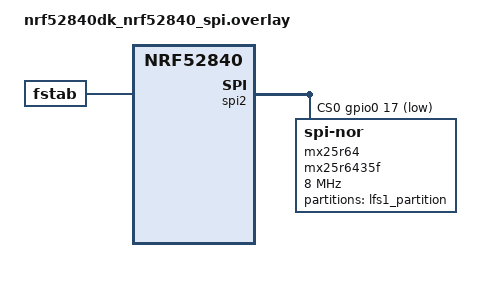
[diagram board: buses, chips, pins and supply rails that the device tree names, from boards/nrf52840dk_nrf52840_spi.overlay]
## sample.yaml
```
sample:
  name: littlefs filesystem sample
common:
  tags:
    - filesystem
    - littefs
tests:
  sample.filesystem.littlefs:
    build_only: true
    platform_allow:
      - nrf52840dk/nrf52840
      - particle_xenon
      - disco_l475_iot1
      - mimxrt685_evk/mimxrt685s/cm33
      - mimxrt1060_evk
      - mimxrt1064_evk
      - qemu_x86
      - native_posix
      - native_sim
      - mimxrt1160_evk/mimxrt1166/cm7
      - lpcxpresso55s69/lpc55s69/cpu0
      - mr_canhubk3
      - stm32f429i_disc1
      - stm32f746g_disco
      - stm32h747i_disco/stm32h747xx/m7
      - stm32h750b_dk
      - nrf54l15pdk/nrf54l15/cpuapp
    integration_platforms:
      - nrf52840dk/nrf52840
  sample.filesystem.littlefs.blk:
    build_only: true
    extra_args:
      - CONF_FILE=prj_blk.conf
    platform_allow:
      - rcar_h3ulcb/r8a77951/a57
      - rcar_salvator_xs
  sample.filesystem.littlefs.nrf52840dk_spi:
    build_only: true
    platform_allow: nrf52840dk/nrf52840
    extra_args:
      - OVERLAY_CONFIG=boards/nrf52840dk_nrf52840_spi.conf
      - DTC_OVERLAY_FILE=boards/nrf52840dk_nrf52840_spi.overlay
  sample.filesystem.littlefs.nrf52840dk_qspi:
    build_only: true
    platform_allow: nrf52840dk/nrf52840
    extra_args:
      - OVERLAY_CONFIG=boards/nrf52840dk_nrf52840_qspi.conf
      - DTC_OVERLAY_FILE=boards/nrf52840dk_nrf52840_qspi.overlay
  sample.filesystem.littlefs.stm32h747i_disco_m7_blk:
    build_only: true
    platform_allow: stm32h747i_disco/stm32h747xx/m7
    extra_args:
      - OVERLAY_CONFIG=boards/stm32_blk.conf
      - CONF_FILE=prj_blk.conf
    extra_configs:
      - CONFIG_SDMMC_STM32_HWFC=y
  sample.filesystem.littlefs.nucleo_h743zi_qspi:
    build_only: true
    platform_allow: nucleo_h743zi
    extra_args:
      - OVERLAY_CONFIG=boards/nucleo_h743zi_qspi.conf
  sample.filesystem.littlefs.nucleo_h743zi_blk:
    build_only: true
    platform_allow: nucleo_h743zi
    extra_args:
      - OVERLAY_CONFIG=boards/nucleo_h743zi_blk.conf
      - CONF_FILE=prj_blk.conf
  sample.filesystem.littlefs.stm32l562e_dk_ospi:
    build_only: true
    platform_allow: stm32l562e_dk
    extra_args:
      - OVERLAY_CONFIG=boards/stm32l562e_dk_ospi.conf
  sample.filesystem.littlefs.stm32f746g_disco_blk:
    build_only: true
    platform_allow: stm32f746g_disco
    extra_args:
      - OVERLAY_CONFIG=boards/stm32_blk.conf
      - CONF_FILE=prj_blk.conf
    extra_configs:
      - CONFIG_SDMMC_STM32_HWFC=y
```

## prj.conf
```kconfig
#
# Copyright (c) 2019 Peter Bigot Consulting, LLC
#
# SPDX-License-Identifier: Apache-2.0
#

# Optionally force the file system to be recreated
#CONFIG_APP_WIPE_STORAGE=y

# fs_dirent structures are big.
CONFIG_MAIN_STACK_SIZE=4096

# Let __ASSERT do its job
CONFIG_DEBUG=y

CONFIG_LOG=y
CONFIG_LOG_MODE_MINIMAL=y

CONFIG_FLASH=y
CONFIG_FLASH_MAP=y

CONFIG_FILE_SYSTEM=y
CONFIG_FILE_SYSTEM_LITTLEFS=y
```

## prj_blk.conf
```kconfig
#
# Copyright (c) 2022 Lukasz Majewski, DENX Software Engineering GmbH
#
# SPDX-License-Identifier: Apache-2.0
#

CONFIG_DISK_ACCESS=y
CONFIG_DISK_DRIVERS=y
CONFIG_DISK_DRIVER_SDMMC=y

CONFIG_DEBUG=y
CONFIG_LOG=y
CONFIG_LOG_MODE_MINIMAL=y

CONFIG_FILE_SYSTEM=y
CONFIG_FILE_SYSTEM_LITTLEFS=y

CONFIG_FS_LITTLEFS_BLK_DEV=y
CONFIG_FS_LITTLEFS_FMP_DEV=n
CONFIG_APP_LITTLEFS_STORAGE_BLK_SDMMC=y

CONFIG_NOCACHE_MEMORY=y
```

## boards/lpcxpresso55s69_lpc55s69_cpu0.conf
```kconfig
# Copyright 2023 NXP
# SPDX-License-Identifier: Apache-2.0

CONFIG_FS_LITTLEFS_PROG_SIZE=512
CONFIG_FS_LITTLEFS_CACHE_SIZE=512
```

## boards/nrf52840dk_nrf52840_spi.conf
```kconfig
#
# Copyright (c) 2023 Nordic Semiconductor ASA
#
# SPDX-License-Identifier: Apache-2.0
#
CONFIG_SPI=y
CONFIG_SPI_NOR=y
CONFIG_SPI_NOR_FLASH_LAYOUT_PAGE_SIZE=4096
```

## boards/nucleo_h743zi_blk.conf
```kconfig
#
# Copyright (c) 2022 Lukasz Majewski, DENX Software Engineering GmbH
#
# SPDX-License-Identifier: Apache-2.0
#
CONFIG_MAIN_STACK_SIZE=2048
CONFIG_COMMON_LIBC_MALLOC_ARENA_SIZE=8192

CONFIG_FS_LITTLEFS_FC_HEAP_SIZE=8192
CONFIG_SDMMC_STM32_HWFC=y
```

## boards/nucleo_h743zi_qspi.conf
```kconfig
#
# Copyright (c) 2021 Lukasz Majewski, DENX Software Engineering GmbH
#
# SPDX-License-Identifier: Apache-2.0
#

CONFIG_COMMON_LIBC_MALLOC_ARENA_SIZE=8192

# Littlefs configuration to utilize QSPI operation
CONFIG_FS_LITTLEFS_FC_HEAP_SIZE=8192

CONFIG_NOCACHE_MEMORY=y
```

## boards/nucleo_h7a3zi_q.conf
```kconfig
#
# Copyright (c) 2022 Christoph Heller
#
# SPDX-License-Identifier: Apache-2.0
#

# Set MPU to allow write accesses to flash memory.
# This is required by the flash driver to be able
# to write to the internal flash.
CONFIG_MPU_ALLOW_FLASH_WRITE=y
```

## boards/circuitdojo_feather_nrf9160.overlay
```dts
/*
 * Copyright (c) 2020 Circuit Dojo LLC
 *
 * SPDX-License-Identifier: Apache-2.0
 */

/delete-node/ &storage_partition;

&w25q16jv {
	partitions {
		compatible = "fixed-partitions";
		#address-cells = <1>;
		#size-cells = <1>;

		littlefs_dev: partition@0 {
			label = "storage";
			reg = <0x00000000 0x00010000>;
		};
	};
};
```

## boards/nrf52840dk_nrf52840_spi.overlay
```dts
/*
 * Copyright (c) 2023 Nordic Semiconductor ASA
 *
 * SPDX-License-Identifier: Apache-2.0
 */

/delete-node/ &mx25r64;

&qspi {
	status = "disabled";
};

/* The mx25, on nrf52840dk/nrf52840, uses pins for spi0, spi1, spi2 and spi3
 * to provide quad-spi feature. In individual specifications each of the spi
 * notes define own clock source (SCK), but spi2 shares the same clock source
 * as qspi configuration, which is pin (0,19). That is why spi2 is used here
 * to communicate with mx25, when qspi is not used, to avoid rerouting clock
 * pin.
 */
&spi2 {
	compatible = "nordic,nrf-spi";
	status = "okay";
	cs-gpios = <&gpio0 17 GPIO_ACTIVE_LOW>;
	pinctrl-0 = <&spi2_default>;
	pinctrl-1 = <&spi2_sleep>;
	pinctrl-names = "default", "sleep";
	mx25r64: mx25r6435f@0 {
		compatible = "jedec,spi-nor";
		reg = <0>;
		spi-max-frequency = <8000000>;
		jedec-id = [c2 28 17];
		sfdp-bfp = [
			e5 20 f1 ff  ff ff ff 03  44 eb 08 6b  08 3b 04 bb
			ee ff ff ff  ff ff 00 ff  ff ff 00 ff  0c 20 0f 52
			10 d8 00 ff  23 72 f5 00  82 ed 04 cc  44 83 68 44
			30 b0 30 b0  f7 c4 d5 5c  00 be 29 ff  f0 d0 ff ff
		];
		size = <67108864>;
		has-dpd;
		t-enter-dpd = <10000>;
		t-exit-dpd = <35000>;
	};
};

&mx25r64 {
	partitions {
		compatible = "fixed-partitions";
		#address-cells = <1>;
		#size-cells = <1>;

		lfs1_partition: partition@0 {
			label = "lfs1_partition";
			reg = <0x00000000 0x00010000>;
		};
	};
};

/ {
	fstab {
		compatible = "zephyr,fstab";
		lfs1: lfs1 {
			compatible = "zephyr,fstab,littlefs";
			mount-point = "/lfs1";
			partition = <&lfs1_partition>;
			automount;
			read-size = <16>;
			prog-size = <16>;
			cache-size = <64>;
			lookahead-size = <32>;
			block-cycles = <512>;
		};
	};
};
```

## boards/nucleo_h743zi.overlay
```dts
/*
 * Copyright (c) 2022 Lukasz Majewski, DENX Software Engineering GmbH
 * Copyright (c) 2024 STMicroelectronics
 *
 * SPDX-License-Identifier: Apache-2.0
 */
/delete-node/ &storage_partition;

&sdmmc1 {
	status = "okay";
	pinctrl-0 = <&sdmmc1_d0_pc8
		     &sdmmc1_ck_pc12
		     &sdmmc1_cmd_pd2>;

	pinctrl-names = "default";
};

/ {
	fstab {
		compatible = "zephyr,fstab";
		lfs1: lfs1 {
			compatible = "zephyr,fstab,littlefs";
			read-size = <32>;
			prog-size = <32>;
			cache-size = <256>;
			lookahead-size = <64>;
			block-cycles = <512>;
			partition = <&storage_partition>;
			mount-point = "/lfs1";
		};
	};
};

&quadspi {
	pinctrl-0 = <&quadspi_clk_pf10 &quadspi_bk2_ncs_pc11
		     &quadspi_bk2_io0_pe7 &quadspi_bk2_io1_pe8
		     &quadspi_bk2_io2_pe9 &quadspi_bk2_io3_pe10>;
	pinctrl-names = "default";

	flash-id = <2>;
	status = "okay";

	mx25l25645g: qspi-nor-flash@90000000 {
		compatible = "st,stm32-qspi-nor";
		reg = <0x90000000 DT_SIZE_M(32)>; /* 256 Mbits */
		qspi-max-frequency = <50000000>;
		reset-gpios = <&gpiod 3 GPIO_ACTIVE_LOW>;
		reset-gpios-duration = <1>;
		spi-bus-width = <4>;
		status = "okay";

		partitions {
			   compatible = "fixed-partitions";
			   #address-cells = <1>;
			   #size-cells = <1>;

			   storage_partition: partition@0 {
			       label = "storage";
			       reg = <0 DT_SIZE_M(8)>;
			   };
		};
	};
};
```

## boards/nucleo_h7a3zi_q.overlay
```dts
/*
 * Copyright (c) 2022 Christoph Heller
 *
 * SPDX-License-Identifier: Apache-2.0
 */

/ {
	fstab {
		compatible = "zephyr,fstab";
		lfs1: lfs1 {
			compatible = "zephyr,fstab,littlefs";
			read-size = <1>;
			prog-size = <16>;
			cache-size = <256>;
			lookahead-size = <32>;
			block-cycles = <512>;
			partition = <&lfs1_partition>;
			mount-point = "/lfs1";
		};
	};
};

&flash0 {
	partitions {
		compatible = "fixed-partitions";
		#address-cells = <1>;
		#size-cells = <1>;

		/* Use second half of flash for the filesystem. */
		lfs1_partition: partition@100000 {
			label = "storage";
			reg = <0x100000 DT_SIZE_K(1024)>;
		};
	};
};
```

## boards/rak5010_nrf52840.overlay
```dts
/*
 * Copyright (c) 2024 Linumiz
 *
 * SPDX-License-Identifier: Apache-2.0
 */

/delete-node/ &storage_partition;

/ {
	fstab {
		compatible = "zephyr,fstab";
		lfs1: lfs1 {
			compatible = "zephyr,fstab,littlefs";
			mount-point = "/lfs1";
			partition = <&lfs1_part>;
			automount;
			read-size = <16>;
			prog-size = <16>;
			cache-size = <64>;
			lookahead-size = <32>;
			block-cycles = <512>;
		};
	};
};

&is25wp064a {
	partitions {
		compatible = "fixed-partitions";
		#address-cells = <1>;
		#size-cells = <1>;

		lfs1_part: partition@0 {
			label = "storage";
			reg = <0x00000000 DT_SIZE_M(8)>;
		};
	};
};
```

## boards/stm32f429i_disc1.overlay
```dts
/*
 * Copyright (c) 2024 STMicroelectronics
 *
 * SPDX-License-Identifier: Apache-2.0
 */

/ {
	fstab {
		compatible = "zephyr,fstab";
		lfs1: lfs1 {
			compatible = "zephyr,fstab,littlefs";
			read-size = <1>;
			prog-size = <16>;
			cache-size = <256>;
			lookahead-size = <32>;
			block-cycles = <512>;
			partition = <&lfs1_partition>;
			mount-point = "/lfs1";
		};
	};
};

&flash0 {
	partitions {
		compatible = "fixed-partitions";
		#address-cells = <1>;
		#size-cells = <1>;

		/* Use second half of flash for the filesystem. */
		lfs1_partition: partition@100000 {
			label = "storage";
			reg = <0x100000 DT_SIZE_K(1024)>;
		};
	};
};
```

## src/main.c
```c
/*
 * Copyright (c) 2022 Lukasz Majewski, DENX Software Engineering GmbH
 * Copyright (c) 2019 Peter Bigot Consulting, LLC
 *
 * SPDX-License-Identifier: Apache-2.0
 */

/* Sample which uses the filesystem API with littlefs */

#include <stdio.h>

#include <zephyr/kernel.h>
#include <zephyr/device.h>
#include <zephyr/fs/fs.h>
#include <zephyr/fs/littlefs.h>
#include <zephyr/logging/log.h>
#include <zephyr/storage/flash_map.h>

LOG_MODULE_REGISTER(main);

/* Matches LFS_NAME_MAX */
#define MAX_PATH_LEN 255
#define TEST_FILE_SIZE 547

static uint8_t file_test_pattern[TEST_FILE_SIZE];
static int lsdir(const char *path)
{
	int res;
	struct fs_dir_t dirp;
	static struct fs_dirent entry;

	fs_dir_t_init(&dirp);

	/* Verify fs_opendir() */
	res = fs_opendir(&dirp, path);
	if (res) {
		LOG_ERR("Error opening dir %s [%d]\n", path, res);
		return res;
	}

	LOG_PRINTK("\nListing dir %s ...\n", path);
	for (;;) {
		/* Verify fs_readdir() */
		res = fs_readdir(&dirp, &entry);

		/* entry.name[0] == 0 means end-of-dir */
		if (res || entry.name[0] == 0) {
			if (res < 0) {
				LOG_ERR("Error reading dir [%d]\n", res);
			}
			break;
		}

		if (entry.type == FS_DIR_ENTRY_DIR) {
			LOG_PRINTK("[DIR ] %s\n", entry.name);
		} else {
			LOG_PRINTK("[FILE] %s (size = %zu)\n",
				   entry.name, entry.size);
		}
	}

	/* Verify fs_closedir() */
	fs_closedir(&dirp);

	return res;
}

static int littlefs_increase_infile_value(char *fname)
{
	uint8_t boot_count = 0;
	struct fs_file_t file;
	int rc, ret;

	fs_file_t_init(&file);
	rc = fs_open(&file, fname, FS_O_CREATE | FS_O_RDWR);
	if (rc < 0) {
		LOG_ERR("FAIL: open %s: %d", fname, rc);
		return rc;
	}

	rc = fs_read(&file, &boot_count, sizeof(boot_count));
	if (rc < 0) {
		LOG_ERR("FAIL: read %s: [rd:%d]", fname, rc);
		goto out;
	}
	LOG_PRINTK("%s read count:%u (bytes: %d)\n", fname, boot_count, rc);

	rc = fs_seek(&file, 0, FS_SEEK_SET);
	if (rc < 0) {
		LOG_ERR("FAIL: seek %s: %d", fname, rc);
		goto out;
	}

	boot_count += 1;
	rc = fs_write(&file, &boot_count, sizeof(boot_count));
	if (rc < 0) {
		LOG_ERR("FAIL: write %s: %d", fname, rc);
		goto out;
	}

	LOG_PRINTK("%s write new boot count %u: [wr:%d]\n", fname,
		   boot_count, rc);

 out:
	ret = fs_close(&file);
	if (ret < 0) {
		LOG_ERR("FAIL: close %s: %d", fname, ret);
		return ret;
	}

	return (rc < 0 ? rc : 0);
}

static void incr_pattern(uint8_t *p, uint16_t size, uint8_t inc)
{
	uint8_t fill = 0x55;

	if (p[0] % 2 == 0) {
		fill = 0xAA;
	}

	for (int i = 0; i < (size - 1); i++) {
		if (i % 8 == 0) {
			p[i] += inc;
		} else {
			p[i] = fill;
		}
	}

	p[size - 1] += inc;
}

static void init_pattern(uint8_t *p, uint16_t size)
{
	uint8_t v = 0x1;

	memset(p, 0x55, size);

	for (int i = 0; i < size; i += 8) {
		p[i] = v++;
	}

	p[size - 1] = 0xAA;
}

static void print_pattern(uint8_t *p, uint16_t size)
{
	int i, j = size / 16, k;

	for (k = 0, i = 0; k < j; i += 16, k++) {
		LOG_PRINTK("%02x %02x %02x %02x %02x %02x %02x %02x ",
			   p[i], p[i+1], p[i+2], p[i+3],
			   p[i+4], p[i+5], p[i+6], p[i+7]);
		LOG_PRINTK("%02x %02x %02x %02x %02x %02x %02x %02x\n",
			   p[i+8], p[i+9], p[i+10], p[i+11],
			   p[i+12], p[i+13], p[i+14], p[i+15]);

		/* Mark 512B (sector) chunks of the test file */
		if ((k + 1) % 32 == 0) {
			LOG_PRINTK("\n");
		}
	}

	for (; i < size; i++) {
		LOG_PRINTK("%02x ", p[i]);
	}

	LOG_PRINTK("\n");
}

static int littlefs_binary_file_adj(char *fname)
{
	struct fs_dirent dirent;
	struct fs_file_t file;
	int rc, ret;

	/*
	 * Uncomment below line to force re-creation of the test pattern
	 * file on the littlefs FS.
	 */
	/* fs_unlink(fname); */
	fs_file_t_init(&file);

	rc = fs_open(&file, fname, FS_O_CREATE | FS_O_RDWR);
	if (rc < 0) {
		LOG_ERR("FAIL: open %s: %d", fname, rc);
		return rc;
	}

	rc = fs_stat(fname, &dirent);
	if (rc < 0) {
		LOG_ERR("FAIL: stat %s: %d", fname, rc);
		goto out;
	}

	/* Check if the file exists - if not just write the pattern */
	if (rc == 0 && dirent.type == FS_DIR_ENTRY_FILE && dirent.size == 0) {
		LOG_INF("Test file: %s not found, create one!",
			fname);
		init_pattern(file_test_pattern, sizeof(file_test_pattern));
	} else {
		rc = fs_read(&file, file_test_pattern,
			     sizeof(file_test_pattern));
		if (rc < 0) {
			LOG_ERR("FAIL: read %s: [rd:%d]",
				fname, rc);
			goto out;
		}
		incr_pattern(file_test_pattern, sizeof(file_test_pattern), 0x1);
	}

	LOG_PRINTK("------ FILE: %s ------\n", fname);
	print_pattern(file_test_pattern, sizeof(file_test_pattern));

	rc = fs_seek(&file, 0, FS_SEEK_SET);
	if (rc < 0) {
		LOG_ERR("FAIL: seek %s: %d", fname, rc);
		goto out;
	}

	rc = fs_write(&file, file_test_pattern, sizeof(file_test_pattern));
	if (rc < 0) {
		LOG_ERR("FAIL: write %s: %d", fname, rc);
	}

 out:
	ret = fs_close(&file);
	if (ret < 0) {
		LOG_ERR("FAIL: close %s: %d", fname, ret);
		return ret;
	}

	return (rc < 0 ? rc : 0);
}

#ifdef CONFIG_APP_LITTLEFS_STORAGE_FLASH
static int littlefs_flash_erase(unsigned int id)
{
	const struct flash_area *pfa;
	int rc;

	rc = flash_area_open(id, &pfa);
	if (rc < 0) {
		LOG_ERR("FAIL: unable to find flash area %u: %d\n",
			id, rc);
		return rc;
	}

	LOG_PRINTK("Area %u at 0x%x on %s for %u bytes\n",
		   id, (unsigned int)pfa->fa_off, pfa->fa_dev->name,
		   (unsigned int)pfa->fa_size);

	/* Optional wipe flash contents */
	if (IS_ENABLED(CONFIG_APP_WIPE_STORAGE)) {
		rc = flash_area_flatten(pfa, 0, pfa->fa_size);
		LOG_ERR("Erasing flash area ... %d", rc);
	}

	flash_area_close(pfa);
	return rc;
}
#define PARTITION_NODE DT_NODELABEL(lfs1)

#if DT_NODE_EXISTS(PARTITION_NODE)
FS_FSTAB_DECLARE_ENTRY(PARTITION_NODE);
#else /* PARTITION_NODE */
FS_LITTLEFS_DECLARE_DEFAULT_CONFIG(storage);
static struct fs_mount_t lfs_storage_mnt = {
	.type = FS_LITTLEFS,
	.fs_data = &storage,
	.storage_dev = (void *)FIXED_PARTITION_ID(storage_partition),
	.mnt_point = "/lfs",
};
#endif /* PARTITION_NODE */

	struct fs_mount_t *mountpoint =
#if DT_NODE_EXISTS(PARTITION_NODE)
		&FS_FSTAB_ENTRY(PARTITION_NODE)
#else
		&lfs_storage_mnt
#endif
		;

static int littlefs_mount(struct fs_mount_t *mp)
{
	int rc;

	rc = littlefs_flash_erase((uintptr_t)mp->storage_dev);
	if (rc < 0) {
		return rc;
	}

	/* Do not mount if auto-mount has been enabled */
#if !DT_NODE_EXISTS(PARTITION_NODE) ||						\
	!(FSTAB_ENTRY_DT_MOUNT_FLAGS(PARTITION_NODE) & FS_MOUNT_FLAG_AUTOMOUNT)
	rc = fs_mount(mp);
	if (rc < 0) {
		LOG_PRINTK("FAIL: mount id %" PRIuPTR " at %s: %d\n",
		       (uintptr_t)mp->storage_dev, mp->mnt_point, rc);
		return rc;
	}
	LOG_PRINTK("%s mount: %d\n", mp->mnt_point, rc);
#else
	LOG_PRINTK("%s automounted\n", mp->mnt_point);
#endif

	return 0;
}
#endif /* CONFIG_APP_LITTLEFS_STORAGE_FLASH */

#ifdef CONFIG_APP_LITTLEFS_STORAGE_BLK_SDMMC

#if defined(CONFIG_DISK_DRIVER_SDMMC)
#define DISK_NAME CONFIG_SDMMC_VOLUME_NAME
#elif defined(CONFIG_DISK_DRIVER_MMC)
#define DISK_NAME CONFIG_MMC_VOLUME_NAME
#else
#error "No disk device defined, is your board supported?"
#endif

struct fs_littlefs lfsfs;
static struct fs_mount_t __mp = {
	.type = FS_LITTLEFS,
	.fs_data = &lfsfs,
	.flags = FS_MOUNT_FLAG_USE_DISK_ACCESS,
};
struct fs_mount_t *mountpoint = &__mp;

static int littlefs_mount(struct fs_mount_t *mp)
{
	static const char *disk_mount_pt = "/"DISK_NAME":";
	static const char *disk_pdrv = DISK_NAME;

	mp->storage_dev = (void *)disk_pdrv;
	mp->mnt_point = disk_mount_pt;

	return fs_mount(mp);
}
#endif /* CONFIG_APP_LITTLEFS_STORAGE_BLK_SDMMC */

int main(void)
{
	char fname1[MAX_PATH_LEN];
	char fname2[MAX_PATH_LEN];
	struct fs_statvfs sbuf;
	int rc;

	LOG_PRINTK("Sample program to r/w files on littlefs\n");

	rc = littlefs_mount(mountpoint);
	if (rc < 0) {
		return 0;
	}

	snprintf(fname1, sizeof(fname1), "%s/boot_count", mountpoint->mnt_point);
	snprintf(fname2, sizeof(fname2), "%s/pattern.bin", mountpoint->mnt_point);

	rc = fs_statvfs(mountpoint->mnt_point, &sbuf);
	if (rc < 0) {
		LOG_PRINTK("FAIL: statvfs: %d\n", rc);
		goto out;
	}

	LOG_PRINTK("%s: bsize = %lu ; frsize = %lu ;"
		   " blocks = %lu ; bfree = %lu\n",
		   mountpoint->mnt_point,
		   sbuf.f_bsize, sbuf.f_frsize,
		   sbuf.f_blocks, sbuf.f_bfree);

	rc = lsdir(mountpoint->mnt_point);
	if (rc < 0) {
		LOG_PRINTK("FAIL: lsdir %s: %d\n", mountpoint->mnt_point, rc);
		goto out;
	}

	rc = littlefs_increase_infile_value(fname1);
	if (rc) {
		goto out;
	}

	rc = littlefs_binary_file_adj(fname2);
	if (rc) {
		goto out;
	}

out:
	rc = fs_unmount(mountpoint);
	LOG_PRINTK("%s unmount: %d\n", mountpoint->mnt_point, rc);
	return 0;
}
```
